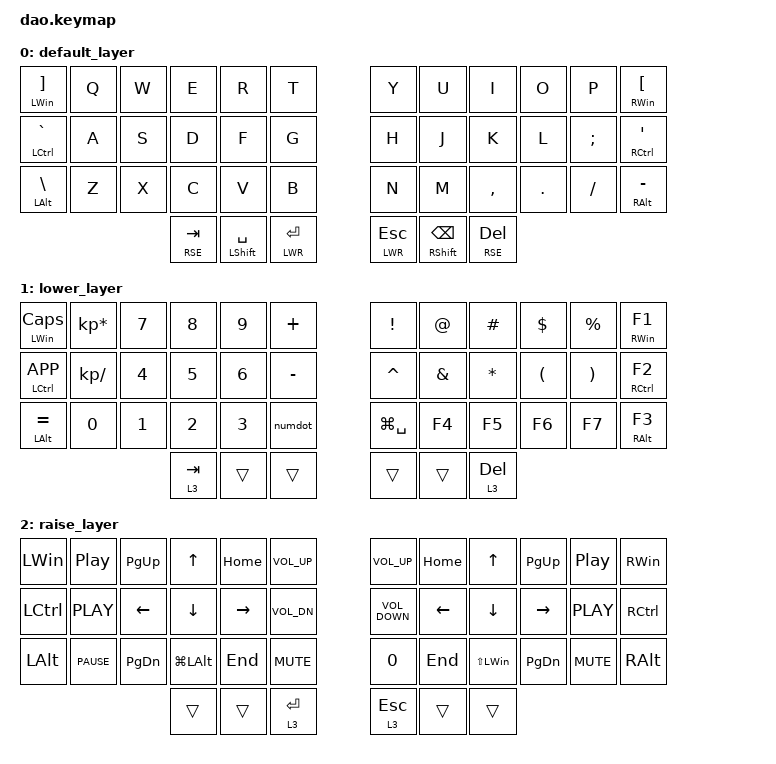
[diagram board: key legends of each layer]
/*
 * Copyright (c) 2020 The ZMK Contributors
 *
 * SPDX-License-Identifier: MIT
 */

#include <behaviors.dtsi>
#include <dt-bindings/zmk/keys.h>
#include <dt-bindings/zmk/bt.h>
#include <dt-bindings/zmk/mouse.h>

#include <dt-bindings/zmk/ext_power.h>

#define DEF 0
#define LWR 1
#define RSE 2
/* #define ADJ 3 */

/* Adding Mouse */
#include "config/boards/arm/dao/dao.dtsi"

&lt { quick_tap_ms = <220>; };
&mt { quick_tap_ms = <220>; };

/ {
    macros {
        numdot: numdot {
            label = "ZM_numdot";
            compatible = "zmk,behavior-macro";
            #binding-cells = <0>;
            wait-ms = <40>;
            tap-ms = <40>;
            bindings =
                <&macro_press>,
                <&kp LALT>,
                <&macro_tap>,
                <&kp KP_N4 &kp KP_N6>,
                <&macro_release>,
                <&kp LALT>;
        };

        grtsgn: grtsgn {
            label = "ZM_grtsgn";
            compatible = "zmk,behavior-macro";
            #binding-cells = <0>;
            wait-ms = <40>;
            tap-ms = <40>;
            bindings =
                <&macro_press>,
                <&kp LALT>,
                <&macro_tap>,
                <&kp KP_N6 &kp KP_N2>,
                <&macro_release>,
                <&kp LALT>;
        };
    };
};

/ {
        keymap {
                compatible = "zmk,keymap";

                default_layer {
                        bindings = <
  &mt LWIN RBKT   &kp Q &kp W &kp E &kp R &kp T               &kp Y  &kp U  &kp I     &kp O   &kp P    &mt RWIN LBKT 
  &mt LCTRL GRAVE &kp A &kp S &kp D &kp F &kp G               &kp H  &kp J  &kp K     &kp L   &kp SEMI &mt RCTRL SQT
  &mt LALT  BSLH  &kp Z &kp X &kp C &kp V &kp B               &kp N  &kp M  &kp COMMA &kp DOT &kp FSLH &mt RALT MINUS
        &lt RSE TAB &mt LSHFT SPACE &lt LWR RET               &lt LWR ESC &mt RSHFT BSPC &lt RSE DEL
                        >;
                };

        lower_layer {
            bindings = <
&mt LWIN CAPS    &kp KP_MULTIPLY  &kp N7  &kp N8     &kp N9  &kp PLUS   &kp EXCL       &kp AT    &kp HASH   &kp DLLR  &kp PRCNT  &mt RWIN F1
&mt LCTRL K_APP  &kp KP_SLASH     &kp N4  &kp N5     &kp N6  &kp MINUS  &kp CARET      &kp AMPS  &kp STAR   &kp LPAR  &kp RPAR   &mt RCTRL F2
&mt LALT EQUAL   &kp N0           &kp N1  &kp N2     &kp N3  &numdot    &kp LG(SPACE)  &kp F4    &kp F5     &kp F6    &kp F7     &mt RALT F3
                                          &lt 3 TAB  &trans  &trans     &trans         &trans    &lt 3 DEL
            >;
        };

        raise_layer {
            bindings = <
&kp LWIN   &kp C_PP     &kp PG_UP  &kp UP_ARROW  &kp HOME   &kp C_VOL_UP  &kp C_VOL_UP       &kp HOME  &kp UP            &kp PG_UP  &kp C_PP    &kp RWIN
&kp LCTRL  &kp C_PLAY   &kp LEFT   &kp DOWN      &kp RIGHT  &kp C_VOL_DN  &kp C_VOLUME_DOWN  &kp LEFT  &kp DOWN          &kp RIGHT  &kp C_PLAY  &kp RCTRL
&kp LALT   &kp C_PAUSE  &kp PG_DN  &kp LG(LALT)  &kp END    &kp C_MUTE    &kp N0             &kp END   &kp LS(LEFT_WIN)  &kp PG_DN  &kp C_MUTE  &kp RALT
                                   &trans        &trans     &lt 3 RET     &lt 3 ESC          &trans    &trans
            >;
        };

      /*  adjust_layer {
            bindings = <
&bootloader  &none       U_BTN1          U_MS_U          U_BTN2           U_WH_U            U_WH_U            U_BTN1          U_MS_U          U_BTN2           &none  &bootloader
&none        &none       U_MS_L          U_MS_D          U_MS_R           U_WH_D            U_WH_D            U_MS_L          U_MS_D          U_MS_R           &none  &bt BT_DISC 0
&none        &kp KP_NUM  &none           &none           &none            &none             &bt BT_SEL 0      &bt BT_SEL 1    &bt BT_SEL 2    &bt BT_SEL 3     &none  &bt BT_CLR
                                         &trans          &none            &trans            &trans            &none           &trans */
            >;
        };
    };
};
